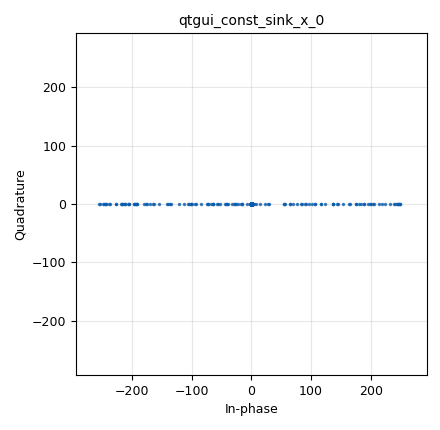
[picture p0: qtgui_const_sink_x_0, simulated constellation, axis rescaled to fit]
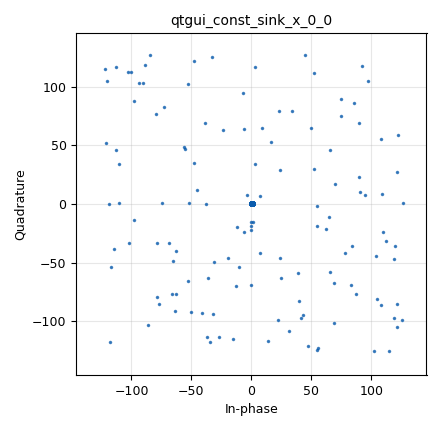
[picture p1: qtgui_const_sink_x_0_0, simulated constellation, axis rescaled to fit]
options:
  parameters:
    author: cristovaozr
    generate_options: qt_gui
    id: test_bpsk
    output_language: python
    title: Not titled yet
  states: {}

blocks:
- name: samp_rate
  id: variable
  parameters:
    value: '32000'
  states: {}
- name: analog_const_source_x_0
  id: analog_const_source_x
  parameters:
    const: '0'
    type: float
  states: {}
- name: analog_noise_source_x_0
  id: analog_noise_source_x
  parameters:
    amp: '.1'
    noise_type: analog.GR_GAUSSIAN
    seed: '0'
    type: complex
  states: {}
- name: analog_random_uniform_source_x_0
  id: analog_random_uniform_source_x
  parameters:
    maximum: '2'
    minimum: '0'
    seed: '0'
    type: byte
  states: {}
- name: blocks_add_const_vxx_0
  id: blocks_add_const_vxx
  parameters:
    const: '-1'
    type: float
  states: {}
- name: blocks_add_xx_0
  id: blocks_add_xx
  parameters:
    type: complex
  states: {}
- name: blocks_add_xx_0_0
  id: blocks_add_xx
  parameters:
    type: complex
  states: {}
- name: blocks_char_to_float_0
  id: blocks_char_to_float
  parameters:
    scale: '.5'
  states: {}
- name: blocks_float_to_complex_0
  id: blocks_float_to_complex
  parameters: {}
  states: {}
- name: blocks_interleaved_char_to_complex_0
  id: blocks_interleaved_char_to_complex
  parameters:
    scale_factor: '1.0'
    vector_input: 'False'
  states: {}
- name: blocks_null_sink_0
  id: blocks_null_sink
  parameters:
    type: complex
  states: {}
- name: blocks_null_source_0
  id: blocks_null_source
  parameters:
    type: complex
  states: {}
- name: blocks_stream_to_vector_0
  id: blocks_stream_to_vector
  parameters:
    num_items: '223'
    type: byte
  states: {}
- name: blocks_stream_to_vector_0_1
  id: blocks_stream_to_vector
  parameters:
    num_items: '223'
    type: byte
  states: {}
- name: blocks_throttle2_0
  id: blocks_throttle2
  parameters:
    samples_per_second: samp_rate
    type: complex
  states: {}
- name: blocks_vector_to_stream_0
  id: blocks_vector_to_stream
  parameters:
    num_items: '255'
    type: byte
  states: {}
- name: blocks_vector_to_stream_0_0
  id: blocks_vector_to_stream
  parameters:
    num_items: '255'
    type: byte
  states: {}
- name: dtv_dvbt_reed_solomon_enc_0
  id: dtv_dvbt_reed_solomon_enc
  parameters:
    blocks: '1'
    gfpoly: '0x11d'
    k: '223'
    m: '8'
    n: '255'
    p: '2'
    s: '0'
    t: '16'
  states: {}
- name: dtv_dvbt_reed_solomon_enc_0_0
  id: dtv_dvbt_reed_solomon_enc
  parameters:
    blocks: '1'
    gfpoly: '0x11d'
    k: '223'
    m: '8'
    n: '255'
    p: '2'
    s: '0'
    t: '16'
  states: {}
- name: qtgui_const_sink_x_0
  id: qtgui_const_sink_x
  parameters:
    size: '1024'
    type: complex
  states: {}
- name: qtgui_const_sink_x_0_0
  id: qtgui_const_sink_x
  parameters:
    size: '1024'
    type: complex
  states: {}
- name: virtual_sink_0
  id: virtual_sink
  parameters:
    stream_id: noise
  states: {}
- name: virtual_source_0
  id: virtual_source
  parameters:
    stream_id: noise
  states: {}
- name: virtual_source_0_0
  id: virtual_source
  parameters:
    stream_id: noise
  states: {}

connections:
- [analog_const_source_x_0, '0', blocks_float_to_complex_0, '1']
- [analog_noise_source_x_0, '0', virtual_sink_0, '0']
- [analog_random_uniform_source_x_0, '0', blocks_stream_to_vector_0, '0']
- [analog_random_uniform_source_x_0, '0', blocks_stream_to_vector_0_1, '0']
- [blocks_add_const_vxx_0, '0', blocks_float_to_complex_0, '0']
- [blocks_add_xx_0, '0', qtgui_const_sink_x_0, '0']
- [blocks_add_xx_0_0, '0', qtgui_const_sink_x_0_0, '0']
- [blocks_char_to_float_0, '0', blocks_add_const_vxx_0, '0']
- [blocks_float_to_complex_0, '0', blocks_add_xx_0, '0']
- [blocks_interleaved_char_to_complex_0, '0', blocks_add_xx_0_0, '0']
- [blocks_null_source_0, '0', blocks_throttle2_0, '0']
- [blocks_stream_to_vector_0, '0', dtv_dvbt_reed_solomon_enc_0, '0']
- [blocks_stream_to_vector_0_1, '0', dtv_dvbt_reed_solomon_enc_0_0, '0']
- [blocks_throttle2_0, '0', blocks_null_sink_0, '0']
- [blocks_vector_to_stream_0, '0', blocks_char_to_float_0, '0']
- [blocks_vector_to_stream_0_0, '0', blocks_interleaved_char_to_complex_0, '0']
- [dtv_dvbt_reed_solomon_enc_0, '0', blocks_vector_to_stream_0, '0']
- [dtv_dvbt_reed_solomon_enc_0_0, '0', blocks_vector_to_stream_0_0, '0']
- [virtual_source_0, '0', blocks_add_xx_0, '1']
- [virtual_source_0_0, '0', blocks_add_xx_0_0, '1']

metadata:
  file_format: 1
  grc_version: 3.10.8.0
